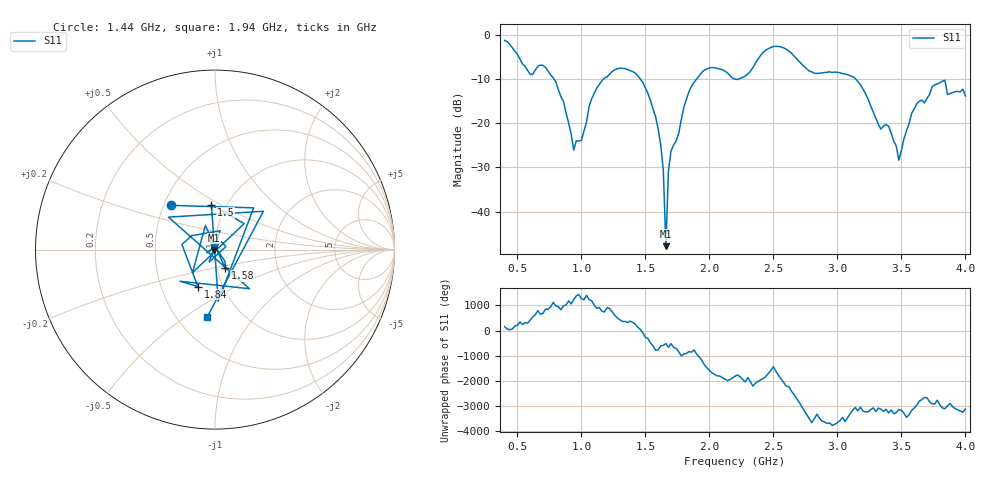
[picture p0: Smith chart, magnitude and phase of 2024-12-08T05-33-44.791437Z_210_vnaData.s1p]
!Created with skrf (http://scikit-rf.org).
# Hz S RI R 50.0
!freq ReS11 ImS11
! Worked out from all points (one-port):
!   181 points, 400 MHz to 4 GHz, reference 50 ohm
!   lowest |S11| = -47.8 dB at 1.66 GHz (marker M1), VSWR 1.01, Z = 49.6 - j0.165 ohm
!   |S11| at or under -10 dB: 786.1 MHz to 1.173 GHz (386.9 MHz wide, 39.5 % of centre); 1.46 GHz to 1.9 GHz (439.7 MHz wide, 26.2 % of centre); 3.144 GHz to end of sweep (the widest 3 of 4)
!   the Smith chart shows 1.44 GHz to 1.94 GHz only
!   S11 on the Smith chart (normalised r, x): 1.44 GHz: 0.55, +0.31; 1.5 GHz: 0.85, +0.45; 1.58 GHz: 1.10, -0.23; 1.84 GHz: 0.76, -0.33; 1.94 GHz: 0.70, -0.61
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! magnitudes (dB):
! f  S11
! 400 MHz  -1.3
! 600 MHz  -8.9
! 720 MHz  -7.4
! 860 MHz  -15.1
! 940 MHz  -26.1
! 1 GHz  -23.9
! 1.12 GHz  -12.1
! 1.3 GHz  -7.5
! 1.44 GHz  -9.2
! 1.5 GHz  -12.0
! 1.58 GHz  -18.6
! 1.64 GHz  -30.7
! 1.66 GHz  -47.8
! 1.68 GHz  -30.8
! 1.7 GHz  -26.3
! 1.76 GHz  -22.3
! 1.84 GHz  -12.9
! 1.94 GHz  -8.5
! 2.2 GHz  -10.0
! 2.48 GHz  -2.9
! 2.66 GHz  -4.8
! 3.1 GHz  -9.3
! 3.34 GHz  -21.3
! 3.4 GHz  -20.7
! 3.48 GHz  -28.4
! 3.56 GHz  -20.1
! 3.76 GHz  -11.3
! 4 GHz  -13.8
